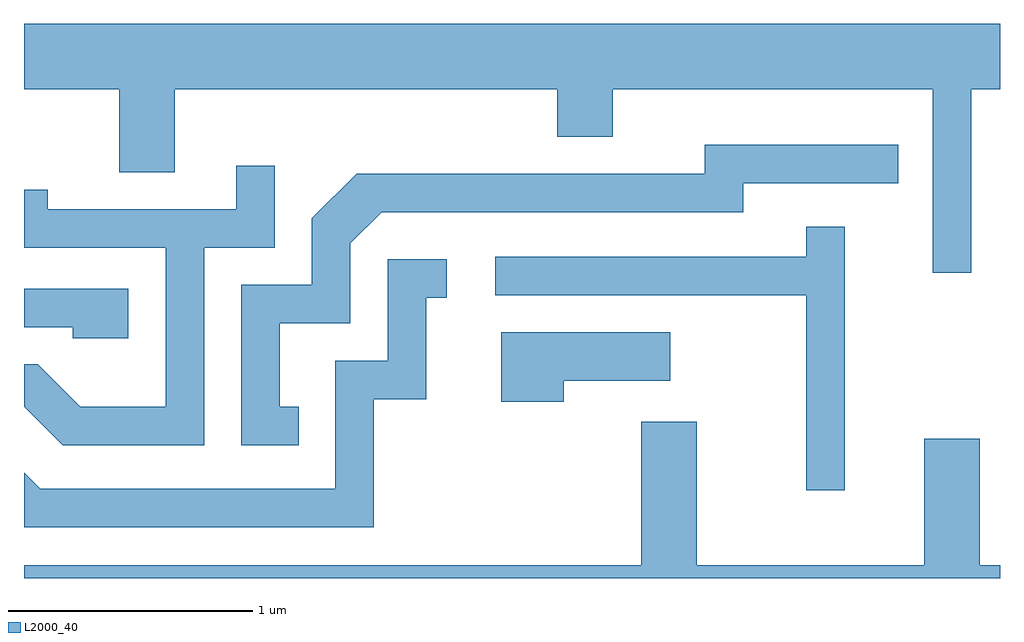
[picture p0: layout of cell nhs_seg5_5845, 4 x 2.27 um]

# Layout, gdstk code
import gdstk
lib = gdstk.Library(unit=1e-6, precision=1e-09)
def P(c, l, *ps):  # polygons
    for p in ps: c.add(gdstk.Polygon(p, *l))
L2000_40 = (2000, 40)

nhs_seg5_5845 = lib.new_cell('nhs_seg5_5845')
P(nhs_seg5_5845, L2000_40, [(361.494,1510.076),(361.611,1510.076),(361.611,1510.344),(357.611,1510.344),(357.611,1510.076),(358.001,1510.076),(358.001,1509.736),(358.229,1509.736),(358.229,1510.076),(359.796,1510.076),(359.796,1509.881),(360.024,1509.881),(360.024,1510.076),(361.336,1510.076),(361.336,1509.323),(361.494,1509.323)],
  [(358.738,1508.774),(358.659,1508.774),(358.659,1509.116),(358.949,1509.116),(358.949,1509.444),(359.077,1509.571),(360.559,1509.571),(360.559,1509.691),(361.193,1509.691),(361.193,1509.849),(360.401,1509.849),(360.401,1509.729),(358.974,1509.729),(358.791,1509.547),(358.791,1509.274),(358.501,1509.274),(358.501,1508.616),(358.738,1508.616)],
  [(358.349,1509.426),(358.639,1509.426),(358.639,1509.763),(358.481,1509.763),(358.481,1509.584),(357.709,1509.584),(357.709,1509.663),(357.611,1509.663),(357.611,1509.426),(358.191,1509.426),(358.191,1508.774),(357.842,1508.774),(357.667,1508.949),(357.611,1508.949),(357.611,1508.774),(357.769,1508.616),(358.349,1508.616)],
  [(360.974,1509.513),(360.816,1509.513),(360.816,1509.389),(359.543,1509.389),(359.543,1509.231),(360.816,1509.231),(360.816,1508.433),(360.974,1508.433)],
  [(359.044,1508.806),(359.259,1508.806),(359.259,1509.221),(359.343,1509.221),(359.343,1509.379),(359.101,1509.379),(359.101,1508.964),(358.886,1508.964),(358.886,1508.439),(357.677,1508.439),(357.611,1508.505),(357.611,1508.281),(359.044,1508.281)],
  [(358.039,1509.259),(357.611,1509.259),(357.611,1509.101),(357.811,1509.101),(357.811,1509.056),(358.039,1509.056)],
  [(359.824,1508.881),(360.259,1508.881),(360.259,1509.079),(359.566,1509.079),(359.566,1508.796),(359.824,1508.796)],
  [(361.611,1508.124),(361.529,1508.124),(361.529,1508.644),(361.301,1508.644),(361.301,1508.124),(360.369,1508.124),(360.369,1508.714),(360.141,1508.714),(360.141,1508.124),(357.611,1508.124),(357.611,1508.072),(361.611,1508.072)])

lib.write_gds('nhs_seg5_5845.gds')
